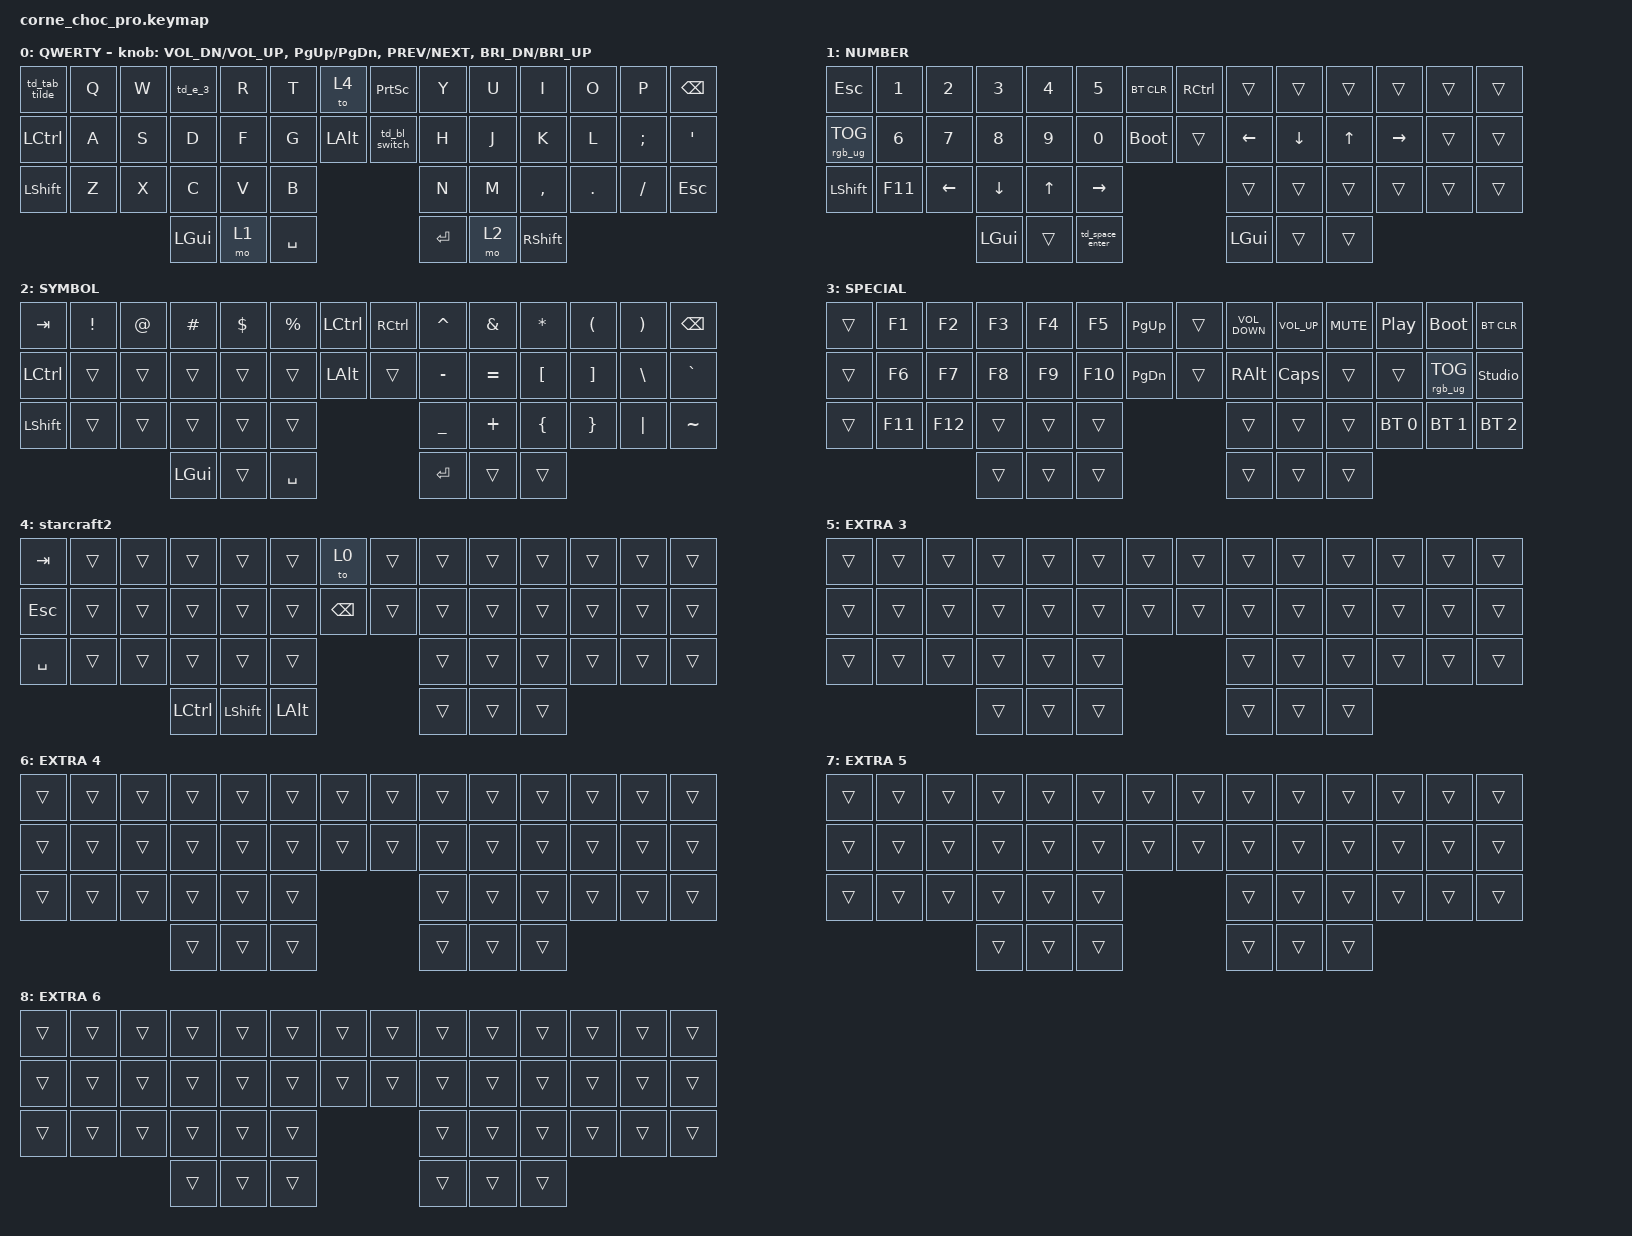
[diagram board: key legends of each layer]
/*
 * Copyright (c) 2020 The ZMK Contributors
 *
 * SPDX-License-Identifier: MIT
 */

#include <behaviors.dtsi>
#include <dt-bindings/zmk/bt.h>
#include <dt-bindings/zmk/keys.h>
#include <dt-bindings/zmk/rgb.h>

/ {
    chosen { zmk,physical-layout = &default_layout; };
};

/ {
    behaviors {
        td_e_3: td_e_3 {
            compatible = "zmk,behavior-tap-dance";
            label = "TD_E_3";
            #binding-cells = <0>;
            bindings = <&kp E>, <&kp N3>;

            tapping-term-ms = <150>;
        };

        td_tab_tilde: td_tab_tilde {
            compatible = "zmk,behavior-tap-dance";
            label = "TD_TAB_TILDE";
            #binding-cells = <0>;
            bindings = <&kp TAB>, <&kp TILDE>;

            tapping-term-ms = <150>;
        };

        td_space_enter: td_space_enter {
            compatible = "zmk,behavior-tap-dance";
            label = "TD_SPACE_ENTER";
            #binding-cells = <0>;
            bindings = <&kp SPACE>, <&kp ENTER>;
        };

        td_bl_switch: td_bl_switch {
            compatible = "zmk,behavior-tap-dance";
            label = "TD_BL_SWITCH";
            #binding-cells = <0>;
            bindings = <&mo 3>, <&bt BT_NXT>, <&bt BT_PRV>;

            tapping-term-ms = <150>;
        };
    };

    keymap {
        compatible = "zmk,keymap";

        default_layer {
            display-name = "QWERTY";

            // --------------------------------------------------------------------------------
            // |  TAB |  Q  |  W  |  E  |  R  |  T  |  MUTE |  PP   |  Y  |  U   |  I  |  O  |  P  | BSPC |
            // | CTRL |  A  |  S  |  D  |  F  |  G  |  LALT |  RALT |  H  |  J   |  K  |  L  |  ;  |  '   |
            // | SHFT |  Z  |  X  |  C  |  V  |  B  |               |  N  |  M   |  ,  |  .  |  /  | ESC  |
            //                    | GUI | LWR | SPC |               | ENT | RSE  | ALT |

            bindings = <
&td_tab_tilde  &kp Q  &kp W  &td_e_3   &kp R  &kp T      &to 4     &kp PRINTSCREEN  &kp Y    &kp U  &kp I            &kp O    &kp P     &kp BSPC
&kp LCTRL      &kp A  &kp S  &kp D     &kp F  &kp G      &kp LALT  &td_bl_switch    &kp H    &kp J  &kp K            &kp L    &kp SEMI  &kp SQT
&kp LSHFT      &kp Z  &kp X  &kp C     &kp V  &kp B                                 &kp N    &kp M  &kp COMMA        &kp DOT  &kp FSLH  &kp ESC
                             &kp LGUI  &mo 1  &kp SPACE                             &kp RET  &mo 2  &kp RIGHT_SHIFT
            >;

            sensor-bindings = <&inc_dec_kp C_VOL_DN C_VOL_UP &inc_dec_kp PG_UP PG_DN &inc_dec_kp C_PREV C_NEXT &inc_dec_kp C_BRI_DN C_BRI_UP>;
        };

        NUMBER {
            display-name = "NUMBER";

            // -----------------------------------------------------------------------------------------
            // |  TAB |  1  |  2  |  3  |  4  |  5    |  LCTRL | RCTRL |  6  |  7  |  8  |  9  |  0  | BSPC |
            // | CTRL | BT1 | BT2 | BT3 | BT4 | BT5   |  LALT  | RALT  | LFT | DWN |  UP | RGT |     |      |
            // | SHFT | BTCR| RGB | RST | BOOT| Unlock|        |       |     |     |     |     |     |      |
            //                    | GUI |     | SPC   |        | ENT   |     | ALT |

            bindings = <
&kp ESC          &kp N1        &kp N2          &kp N3          &kp N4        &kp N5           &bt BT_CLR   &kp RCTRL  &trans    &trans    &trans  &trans     &trans  &trans
&rgb_ug RGB_TOG  &kp NUMBER_6  &kp NUMBER_7    &kp NUMBER_8    &kp NUMBER_9  &kp NUMBER_0     &bootloader  &trans     &kp LEFT  &kp DOWN  &kp UP  &kp RIGHT  &trans  &trans
&kp LSHFT        &kp F11       &kp LEFT_ARROW  &kp DOWN_ARROW  &kp UP_ARROW  &kp RIGHT_ARROW                          &trans    &trans    &trans  &trans     &trans  &trans
                                               &kp LGUI        &trans        &td_space_enter                          &kp LGUI  &trans    &trans
            >;
        };

        SYMBOL {
            display-name = "SYMBOL";

            // -----------------------------------------------------------------------------------------
            // |  TAB |  !  |  @  |  #  |  $  |  %  | LCTRL | RCTRL |  ^  |  &  |  *  |  (  |  )  | BSPC |
            // | CTRL |     |     |     |     |     |  LALT | RALT  |  -  |  =  |  [  |  ]  |  \  |  `   |
            // | SHFT |     |     |     |     |     |               |  _  |  +  |  {  |  }  | "|" |  ~   |
            //                    | GUI |     | SPC |               | ENT |     | ALT |

            bindings = <
&kp TAB    &kp EXCL  &kp AT  &kp HASH  &kp DLLR  &kp PRCNT  &kp LCTRL  &kp RCTRL  &kp CARET  &kp AMPS   &kp ASTRK  &kp LPAR  &kp RPAR  &kp BSPC
&kp LCTRL  &trans    &trans  &trans    &trans    &trans     &kp LALT   &trans     &kp MINUS  &kp EQUAL  &kp LBKT   &kp RBKT  &kp BSLH  &kp GRAVE
&kp LSHFT  &trans    &trans  &trans    &trans    &trans                           &kp UNDER  &kp PLUS   &kp LBRC   &kp RBRC  &kp PIPE  &kp TILDE
                             &kp LGUI  &trans    &kp SPACE                        &kp RET    &trans     &trans
            >;
        };

        SPECIAL {
            display-name = "SPECIAL";
            bindings = <
&trans  &kp F1   &kp F2   &kp F3  &kp F4  &kp F5   &kp PAGE_UP    &trans  &kp C_VOLUME_DOWN  &kp C_VOLUME_UP  &kp K_MUTE  &kp C_PLAY_PAUSE  &bootloader      &bt BT_CLR
&trans  &kp F6   &kp F7   &kp F8  &kp F9  &kp F10  &kp PAGE_DOWN  &trans  &kp RIGHT_ALT      &kp CAPS         &trans      &trans            &rgb_ug RGB_TOG  &studio_unlock
&trans  &kp F11  &kp F12  &trans  &trans  &trans                          &trans             &trans           &trans      &bt BT_SEL 0      &bt BT_SEL 1     &bt BT_SEL 2
                          &trans  &trans  &trans                          &trans             &trans           &trans
            >;
        };

        starcraft2 {
            display-name = "starcraft2";
            bindings = <
&kp TAB    &trans  &trans  &trans     &trans          &trans        &to 0          &trans  &trans  &trans  &trans  &trans  &trans  &trans
&kp ESC    &trans  &trans  &trans     &trans          &trans        &kp BACKSPACE  &trans  &trans  &trans  &trans  &trans  &trans  &trans
&kp SPACE  &trans  &trans  &trans     &trans          &trans                               &trans  &trans  &trans  &trans  &trans  &trans
                           &kp LCTRL  &kp LEFT_SHIFT  &kp LEFT_ALT                         &trans  &trans  &trans
            >;
        };

        extra_layer_3 {
            display-name = "EXTRA 3";
            bindings = <
&trans  &trans  &trans  &trans  &trans  &trans  &trans  &trans  &trans  &trans  &trans  &trans  &trans  &trans
&trans  &trans  &trans  &trans  &trans  &trans  &trans  &trans  &trans  &trans  &trans  &trans  &trans  &trans
&trans  &trans  &trans  &trans  &trans  &trans                  &trans  &trans  &trans  &trans  &trans  &trans
                        &trans  &trans  &trans                  &trans  &trans  &trans
            >;
        };

        extra_layer_4 {
            display-name = "EXTRA 4";
            bindings = <
&trans  &trans  &trans  &trans  &trans  &trans  &trans  &trans  &trans  &trans  &trans  &trans  &trans  &trans
&trans  &trans  &trans  &trans  &trans  &trans  &trans  &trans  &trans  &trans  &trans  &trans  &trans  &trans
&trans  &trans  &trans  &trans  &trans  &trans                  &trans  &trans  &trans  &trans  &trans  &trans
                        &trans  &trans  &trans                  &trans  &trans  &trans
            >;
        };

        extra_layer_5 {
            display-name = "EXTRA 5";
            bindings = <
&trans  &trans  &trans  &trans  &trans  &trans  &trans  &trans  &trans  &trans  &trans  &trans  &trans  &trans
&trans  &trans  &trans  &trans  &trans  &trans  &trans  &trans  &trans  &trans  &trans  &trans  &trans  &trans
&trans  &trans  &trans  &trans  &trans  &trans                  &trans  &trans  &trans  &trans  &trans  &trans
                        &trans  &trans  &trans                  &trans  &trans  &trans
            >;
        };

        extra_layer_6 {
            display-name = "EXTRA 6";
            bindings = <
&trans  &trans  &trans  &trans  &trans  &trans  &trans  &trans  &trans  &trans  &trans  &trans  &trans  &trans
&trans  &trans  &trans  &trans  &trans  &trans  &trans  &trans  &trans  &trans  &trans  &trans  &trans  &trans
&trans  &trans  &trans  &trans  &trans  &trans                  &trans  &trans  &trans  &trans  &trans  &trans
                        &trans  &trans  &trans                  &trans  &trans  &trans
            >;
        };
    };
};
